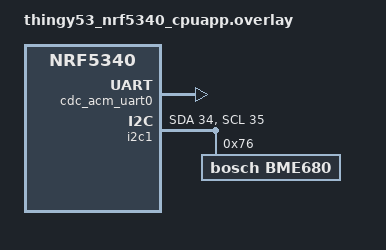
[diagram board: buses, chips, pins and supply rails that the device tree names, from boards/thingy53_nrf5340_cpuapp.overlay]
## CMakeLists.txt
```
#
# Copyright (c) 2020 Nordic Semiconductor ASA
#
# SPDX-License-Identifier: LicenseRef-Nordic-5-Clause
#
cmake_minimum_required(VERSION 3.20.0)

set(PM_STATIC_YML_FILE
  ${CMAKE_CURRENT_SOURCE_DIR}/boards/pm_static_${BOARD}.yml
  )

find_package(Zephyr REQUIRED HINTS $ENV{ZEPHYR_BASE})
project(NONE)

# NORDIC SDK APP START
target_sources(app PRIVATE
	src/main.c
	src/model_handler.c)
target_include_directories(app PRIVATE include)

# Preinitialization related to Thingy:53 DFU
target_sources_ifdef(CONFIG_BOARD_THINGY53_NRF5340_CPUAPP app PRIVATE
boards/thingy53.c
)
target_sources_ifdef(CONFIG_BOARD_THINGY53_NRF5340_CPUAPP_NS app PRIVATE
boards/thingy53.c
)

# NORDIC SDK APP END
```

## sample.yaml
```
sample:
  name: Bluetooth mesh sensor
  description: Bluetooth mesh sensor sample
tests:
  samples.bluetooth.mesh.sensor_server:
    build_only: true
    platform_allow: nrf52dk_nrf52832 nrf52840dk_nrf52840 thingy53_nrf5340_cpuapp thingy53_nrf5340_cpuapp_ns
      nrf21540dk_nrf52840
    tags: bluetooth ci_build
    integration_platforms:
      - nrf52dk_nrf52832
      - nrf52840dk_nrf52840
      - thingy53_nrf5340_cpuapp
      - thingy53_nrf5340_cpuapp_ns
      - nrf21540dk_nrf52840
```

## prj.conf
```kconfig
#
# Copyright (c) 2020 Nordic Semiconductor ASA
#
# SPDX-License-Identifier: LicenseRef-Nordic-5-Clause
#
CONFIG_NCS_SAMPLES_DEFAULTS=y

# General configuration
CONFIG_SYSTEM_WORKQUEUE_STACK_SIZE=2048
CONFIG_FLASH=y
CONFIG_FLASH_MAP=y
CONFIG_NVS=y
CONFIG_SETTINGS=y
CONFIG_HWINFO=y
CONFIG_DK_LIBRARY=y

# Temperature sensor
CONFIG_SENSOR=y
CONFIG_TEMP_NRF5=y

# Bluetooth configuration
CONFIG_BT=y
CONFIG_BT_COMPANY_ID=0x0059
CONFIG_BT_DEVICE_NAME="Mesh Sensor"
CONFIG_BT_L2CAP_TX_MTU=69
CONFIG_BT_L2CAP_TX_BUF_COUNT=8
CONFIG_BT_OBSERVER=y
CONFIG_BT_PERIPHERAL=y
CONFIG_BT_SETTINGS=y

# Disable unused Bluetooth features
CONFIG_BT_CTLR_DUP_FILTER_LEN=0
CONFIG_BT_CTLR_LE_ENC=n
CONFIG_BT_DATA_LEN_UPDATE=n
CONFIG_BT_PHY_UPDATE=n
CONFIG_BT_CTLR_CHAN_SEL_2=n
CONFIG_BT_CTLR_MIN_USED_CHAN=n
CONFIG_BT_CTLR_PRIVACY=n

# Bluetooth mesh configuration
CONFIG_BT_MESH=y
CONFIG_BT_MESH_RELAY=y
CONFIG_BT_MESH_FRIEND=y
CONFIG_BT_MESH_ADV_BUF_COUNT=13
CONFIG_BT_MESH_TX_SEG_MAX=10
CONFIG_BT_MESH_PB_GATT=y
CONFIG_BT_MESH_GATT_PROXY=y
CONFIG_BT_MESH_PROXY_USE_DEVICE_NAME=y
CONFIG_BT_MESH_DK_PROV=y

# Bluetooth mesh models
CONFIG_BT_MESH_SENSOR_SRV=y
```

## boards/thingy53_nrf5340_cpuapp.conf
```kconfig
#
# Copyright (c) 2021 Nordic Semiconductor ASA
#
# SPDX-License-Identifier: LicenseRef-Nordic-5-Clause
#
################################################################################
# Application overlay - Thingy:53 DFU

CONFIG_MCUMGR=y
CONFIG_MCUMGR_SMP_BT=y
CONFIG_MCUMGR_SMP_BT_AUTHEN=n
CONFIG_MCUMGR_SMP_BT_CONN_PARAM_CONTROL=y

CONFIG_MCUMGR_CMD_IMG_MGMT=y
CONFIG_MCUMGR_CMD_OS_MGMT=y

# Enable custom SMP request to erase settings partition.
CONFIG_MCUMGR_GRP_ZEPHYR_BASIC=y
CONFIG_MCUMGR_GRP_BASIC_CMD_STORAGE_ERASE=y

# Increase system workqueue stack size to prevent stack overflows while handling
# SMP requests.
CONFIG_SYSTEM_WORKQUEUE_STACK_SIZE=2800

CONFIG_BT_L2CAP_TX_MTU=498
CONFIG_BT_BUF_ACL_TX_SIZE=251
CONFIG_BT_BUF_ACL_RX_SIZE=502

# Use connection parameters that ensure quick data transfer
CONFIG_BT_PERIPHERAL_PREF_MIN_INT=6
CONFIG_BT_PERIPHERAL_PREF_MAX_INT=6
CONFIG_BT_PERIPHERAL_PREF_LATENCY=99
CONFIG_BT_PERIPHERAL_PREF_TIMEOUT=400

# LEDs are not inverted on Thingy:53
CONFIG_DK_LIBRARY_INVERT_LEDS=n

# Use deferred logging
CONFIG_NCS_SAMPLES_DEFAULTS=n
CONFIG_LOG=y
CONFIG_LOG_PRINTK=y
CONFIG_LOG_PROCESS_THREAD_STACK_SIZE=1024
CONFIG_LOG_PROCESS_THREAD_STARTUP_DELAY_MS=4000
CONFIG_ASSERT=y
CONFIG_ASSERT_NO_COND_INFO=y
CONFIG_ASSERT_NO_MSG_INFO=y
CONFIG_HW_STACK_PROTECTION=y

################################################################################
# Bootloader configuration

CONFIG_BOOTLOADER_MCUBOOT=y
CONFIG_MCUBOOT_IMAGE_VERSION="1.0.0+0"
CONFIG_UPDATEABLE_IMAGE_NUMBER=2

CONFIG_IMG_MANAGER=y
CONFIG_MCUBOOT_IMG_MANAGER=y
CONFIG_IMG_ERASE_PROGRESSIVELY=y

################################################################################
# External flash configuration

CONFIG_NORDIC_QSPI_NOR=y
CONFIG_NORDIC_QSPI_NOR_FLASH_LAYOUT_PAGE_SIZE=4096
CONFIG_NORDIC_QSPI_NOR_STACK_WRITE_BUFFER_SIZE=16

# FLASH nop device is enabled to prevent bus faults when mcumgr tries to access
# simulated partition with network core image data.
CONFIG_FLASH_NOP_DEVICE=y

################################################################################
# Enable USB CDC ACM

CONFIG_USB_DEVICE_STACK=y
CONFIG_USB_DEVICE_PRODUCT="Thingy:53 Application"
CONFIG_USB_DEVICE_VID=0x1915
CONFIG_USB_DEVICE_PID=0x530C
CONFIG_USB_CDC_ACM=y
CONFIG_USB_CDC_ACM_LOG_LEVEL_ERR=y
CONFIG_USB_DEVICE_LOG_LEVEL_ERR=y

# Use CDC_ACM0 for logs
CONFIG_LOG_BACKEND_UART=y
CONFIG_USE_SEGGER_RTT=n
CONFIG_LOG_BACKEND_RTT=n

################################################################################
# Sensor configuration

# Enable Temprature Sensor
CONFIG_BME680=y

# Disable nRF5 sensor
CONFIG_TEMP_NRF5=n
```

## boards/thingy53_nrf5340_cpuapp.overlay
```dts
/*
 * Copyright (c) 2021 Nordic Semiconductor ASA
 *
 * SPDX-License-Identifier: LicenseRef-Nordic-5-Clause
 */

/ {
	chosen {
		nordic,pm-ext-flash = &mx25r64;
	};
};

/*
 * This section is used to enable a partition which is used through the flash API
 * but which is in reality stored in RAM. This is done to load data from
 * external flash to the network core. Since the network core cannot access
 * the external flash directly, the data is buffered in RAM before being
 * copied by the network core to the network core flash.
 *
 * The partition must be enabled by the application configuration to prevent
 * bus faults when mcumgr tries to access simulated partition with network core
 * image data.
 */

/ {
	soc {
		/* Add a flash controller which has the compatible
		 * 'zephyr,sim-flash'. This will ensure that the flash
		 * simulator can use it. None of the other properties in this
		 * node is used for anything.
		 */
		nordic_ram_flash_controller: nordic_ram-flash-controller@0 {
			compatible = "zephyr,sim-flash";
			reg = <0x00000000 DT_SIZE_K(40)>;
			#address-cells = <1>;
			#size-cells = <1>;
			erase-value = <0xff>;
			label = "nordic_ram_flash_flash_controller";

			/* This node label must match that used in the flash
			 * simulator.
			 */
			flash_sim0: flash_sim@0 {
				status = "okay";
				compatible = "soc-nv-flash";
				label = "simulated_flash";
				erase-block-size = <4096>;
				write-block-size = <4>;
				reg = <0x00000000 DT_SIZE_K(256)>;

				partitions {
					compatible = "fixed-partitions";
					#address-cells = <1>;
					#size-cells = <1>;

					/* This partition must be defined for
					 * MCUboot to find the partition ID
					 * of the primary slot for image 1,
					 * which is stored in this partition.
					 */
					slot2_partition: partition@0 {
						label = "image-2";
						reg = <0x00000000 0x00000A000>;
					};
				};
			};
		};
	};

	chosen {
		zephyr,console = &cdc_acm_uart0;
	};

	aliases {
		bme680 = &bme680;
	};
};

&zephyr_udc0 {
	cdc_acm_uart0: cdc_acm_uart0 {
		compatible = "zephyr,cdc-acm-uart";
		label = "CDC_ACM_0";
	};
};

i2c1: &i2c1 {
	compatible = "nordic,nrf-twim";
	status = "okay";
	sda-pin = <34>;
	scl-pin = <35>;

	bme680: bme680@76 {
		compatible = "bosch,bme680";
		label = "BME680";
		reg = <0x76>;
	};
};
```

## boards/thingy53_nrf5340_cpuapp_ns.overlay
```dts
/*
 * Copyright (c) 2021 Nordic Semiconductor ASA
 *
 * SPDX-License-Identifier: LicenseRef-Nordic-5-Clause
 */

/ {
	chosen {
		nordic,pm-ext-flash = &mx25r64;
	};
};

/*
 * This file is used to enable a partition which is used through the flash API
 * but which is in reality stored in RAM. This is done to load data from
 * external flash to the network core. Since the network core cannot access
 * the external flash directly, the data is buffered in RAM before being
 * copied by the network core to the network core flash.
 *
 * The partition must be enabled by the application configuration to prevent
 * bus faults when mcumgr tries to access simulated partition with network core
 * image data.
 */

/ {
	soc {
		/* Add a flash controller which has the compatible
		 * 'zephyr,sim-flash'. This will ensure that the flash
		 * simulator can use it. None of the other properties in this
		 * node is used for anything.
		 */
		nordic_ram_flash_controller: nordic_ram-flash-controller@0 {
			compatible = "zephyr,sim-flash";
			reg = <0x00000000 DT_SIZE_K(40)>;
			#address-cells = <1>;
			#size-cells = <1>;
			erase-value = <0xff>;
			label = "nordic_ram_flash_flash_controller";

			/* This node label must match that used in the flash
			 * simulator.
			 */
			flash_sim0: flash_sim@0 {
				status = "okay";
				compatible = "soc-nv-flash";
				label = "simulated_flash";
				erase-block-size = <4096>;
				write-block-size = <4>;
				reg = <0x00000000 DT_SIZE_K(256)>;

				partitions {
					compatible = "fixed-partitions";
					#address-cells = <1>;
					#size-cells = <1>;

					/* This partition must be defined for
					 * MCUboot to find the partition ID
					 * of the primary slot for image 1,
					 * which is stored in this partition.
					 */
					slot2_partition: partition@0 {
						label = "image-2";
						reg = <0x00000000 0x00000A000>;
					};
				};
			};
		};
	};

	chosen {
		zephyr,console = &cdc_acm_uart0;
	};

	aliases {
		bme680 = &bme680;
	};
};

&zephyr_udc0 {
	cdc_acm_uart0: cdc_acm_uart0 {
		compatible = "zephyr,cdc-acm-uart";
		label = "CDC_ACM_0";
	};
};

i2c1: &i2c1 {
	compatible = "nordic,nrf-twim";
	status = "okay";
	sda-pin = <34>;
	scl-pin = <35>;

	bme680: bme680@76 {
		compatible = "bosch,bme680";
		label = "BME680";
		reg = <0x76>;
	};
};
```

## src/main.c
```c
/*
 * Copyright (c) 2020 Nordic Semiconductor ASA
 *
 * SPDX-License-Identifier: LicenseRef-Nordic-5-Clause
 */

/** @file
 *  @brief Nordic mesh sensor sample
 */
#include <bluetooth/bluetooth.h>
#include <bluetooth/mesh/models.h>
#include <bluetooth/mesh/dk_prov.h>
#include <dk_buttons_and_leds.h>
#include "model_handler.h"

static void bt_ready(int err)
{
	if (err) {
		printk("Bluetooth init failed (err %d)\n", err);
		return;
	}

	printk("Bluetooth initialized\n");

	dk_leds_init();
	dk_buttons_init(NULL);

	err = bt_mesh_init(bt_mesh_dk_prov_init(), model_handler_init());
	if (err) {
		printk("Initializing mesh failed (err %d)\n", err);
		return;
	}

	if (IS_ENABLED(CONFIG_SETTINGS)) {
		settings_load();
	}

	/* This will be a no-op if settings_load() loaded provisioning info */
	bt_mesh_prov_enable(BT_MESH_PROV_ADV | BT_MESH_PROV_GATT);

	printk("Mesh initialized\n");
}

void main(void)
{
	int err;

	printk("Initializing...\n");

	err = bt_enable(bt_ready);
	if (err) {
		printk("Bluetooth init failed (err %d)\n", err);
	}
}
```

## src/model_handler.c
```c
/*
 * Copyright (c) 2020 Nordic Semiconductor ASA
 *
 * SPDX-License-Identifier: LicenseRef-Nordic-5-Clause
 */

#include <bluetooth/bluetooth.h>
#include <bluetooth/mesh/models.h>
#include <dk_buttons_and_leds.h>
#include "model_handler.h"

#if DT_NODE_EXISTS(DT_ALIAS(bme680))
/** Thingy53 */
#define SENSOR_INST DT_PROP(DT_ALIAS(bme680), label)
#define SENSOR_DATA_TYPE SENSOR_CHAN_AMBIENT_TEMP
#elif DT_NODE_EXISTS(DT_NODELABEL(temp))
/** nRF52 DK */
#define SENSOR_INST DT_PROP(DT_NODELABEL(temp), label)
#define SENSOR_DATA_TYPE SENSOR_CHAN_DIE_TEMP
#else
#define SENSOR_INST NULL
#define SENSOR_DATA_TYPE NULL
#error "Unsupported board!"
#endif

/* The columns (temperature ranges) for relative
 * runtime in a chip temperature
 */
static const struct bt_mesh_sensor_column columns[] = {
	{ { 0 }, { 20 } },
	{ { 20 }, { 25 } },
	{ { 25 }, { 30 } },
	{ { 30 }, { 100 } },
};

static const struct device *dev;
static uint32_t tot_temp_samps;
static uint32_t col_samps[ARRAY_SIZE(columns)];

static int32_t prev_pres;

static int chip_temp_get(struct bt_mesh_sensor *sensor,
			 struct bt_mesh_msg_ctx *ctx, struct sensor_value *rsp)
{
	int err;

	sensor_sample_fetch(dev);

	err = sensor_channel_get(dev, SENSOR_DATA_TYPE, rsp);

	if (err) {
		printk("Error getting temperature sensor data (%d)\n", err);
	}

	for (int i = 0; i < ARRAY_SIZE(columns); ++i) {
		if (bt_mesh_sensor_value_in_column(rsp, &columns[i])) {
			col_samps[i]++;
			break;
		}
	}

	tot_temp_samps++;

	return err;
}

static struct bt_mesh_sensor chip_temp = {
	.type = &bt_mesh_sensor_present_dev_op_temp,
	.get = chip_temp_get,
};

static int relative_runtime_in_chip_temp_get(
	struct bt_mesh_sensor *sensor, struct bt_mesh_msg_ctx *ctx,
	const struct bt_mesh_sensor_column *column, struct sensor_value *value)
{
	if (tot_temp_samps) {
		int32_t index = column - &columns[0];
		uint8_t percent_steps =
			(200 * col_samps[index]) / tot_temp_samps;

		value[0].val1 = percent_steps / 2;
		value[0].val2 = (percent_steps % 2) * 500000;
	} else {
		value[0].val1 = 0;
		value[0].val2 = 0;
	}

	value[1] = column->start;
	value[2] = column->end;

	return 0;
}

static struct bt_mesh_sensor rel_chip_temp_runtime = {
	.type = &bt_mesh_sensor_rel_runtime_in_a_dev_op_temp_range,
	.series = {
		columns,
		ARRAY_SIZE(columns),
		relative_runtime_in_chip_temp_get,
		},
};

static struct bt_mesh_sensor presence_sensor = {
	.type = &bt_mesh_sensor_presence_detected,
};

static int time_since_presence_detected_get(struct bt_mesh_sensor *sensor,
					    struct bt_mesh_msg_ctx *ctx,
					    struct sensor_value *rsp)
{
	if (prev_pres) {
		rsp->val1 = (k_uptime_get_32() - prev_pres) / MSEC_PER_SEC;
	} else {
		rsp->val1 = 0;
	}

	return 0;
}

static struct bt_mesh_sensor time_since_presence_detected = {
	.type = &bt_mesh_sensor_time_since_presence_detected,
	.get = time_since_presence_detected_get,
};

static struct bt_mesh_sensor *const sensors[] = {
	&chip_temp,
	&rel_chip_temp_runtime,
	&presence_sensor,
	&time_since_presence_detected,
};

static struct bt_mesh_sensor_srv sensor_srv =
	BT_MESH_SENSOR_SRV_INIT(sensors, ARRAY_SIZE(sensors));

static struct k_work_delayable end_of_presence_work;

static void end_of_presence(struct k_work *work)
{
	int err;

	/* This sensor value must be boolean -
	 * .val1 can only be '0' or '1'
	 */
	struct sensor_value val = {
		.val1 = 0,
	};

	err = bt_mesh_sensor_srv_pub(&sensor_srv, NULL, &presence_sensor, &val);

	if (err) {
		printk("Error publishing end of presence (%d)\n", err);
	}
}

static void button_handler_cb(uint32_t pressed, uint32_t changed)
{
	if ((pressed & BIT(0))) {
		int err;

		/* This sensor value must be boolean -
		 * .val1 can only be '0' or '1'
		 */
		struct sensor_value val = {
			.val1 = 1,
		};

		err = bt_mesh_sensor_srv_pub(&sensor_srv, NULL,
					     &presence_sensor, &val);

		if (err) {
			printk("Error publishing presence (%d)\n", err);
		}

		prev_pres = k_uptime_get_32();

		k_work_reschedule(&end_of_presence_work, K_MSEC(2000));
	}
}

static struct button_handler button_handler = {
	.cb = button_handler_cb,
};

/* Set up a repeating delayed work to blink the DK's LEDs when attention is
 * requested.
 */
static struct k_work_delayable attention_blink_work;
static bool attention;

static void attention_blink(struct k_work *work)
{
	static int idx;
	const uint8_t pattern[] = {
#if DT_NODE_EXISTS(DT_ALIAS(led0))
		BIT(0),
#endif
#if DT_NODE_EXISTS(DT_ALIAS(led1))
		BIT(1),
#endif
#if DT_NODE_EXISTS(DT_ALIAS(led2))
		BIT(2),
#endif
#if DT_NODE_EXISTS(DT_ALIAS(led3))
		BIT(3),
#endif
	};

	if (attention) {
		dk_set_leds(pattern[idx++ % ARRAY_SIZE(pattern)]);
		k_work_reschedule(&attention_blink_work, K_MSEC(30));
	} else {
		dk_set_leds(DK_NO_LEDS_MSK);
	}
}

static void attention_on(struct bt_mesh_model *mod)
{
	attention = true;
	k_work_reschedule(&attention_blink_work, K_NO_WAIT);
}

static void attention_off(struct bt_mesh_model *mod)
{
	/* Will stop rescheduling blink timer */
	attention = false;
}

static const struct bt_mesh_health_srv_cb health_srv_cb = {
	.attn_on = attention_on,
	.attn_off = attention_off,
};

static struct bt_mesh_health_srv health_srv = {
	.cb = &health_srv_cb,
};

BT_MESH_HEALTH_PUB_DEFINE(health_pub, 0);

static struct bt_mesh_elem elements[] = {
	BT_MESH_ELEM(1,
		     BT_MESH_MODEL_LIST(BT_MESH_MODEL_CFG_SRV,
					BT_MESH_MODEL_HEALTH_SRV(&health_srv,
								 &health_pub),
					BT_MESH_MODEL_SENSOR_SRV(&sensor_srv)),
		     BT_MESH_MODEL_NONE),
};

static const struct bt_mesh_comp comp = {
	.cid = CONFIG_BT_COMPANY_ID,
	.elem = elements,
	.elem_count = ARRAY_SIZE(elements),
};

const struct bt_mesh_comp *model_handler_init(void)
{
	k_work_init_delayable(&attention_blink_work, attention_blink);
	k_work_init_delayable(&end_of_presence_work, end_of_presence);

	dev = device_get_binding(SENSOR_INST);

	if (dev == NULL) {
		printk("Could not initiate temperature sensor\n");
	} else {
		printk("Temperature sensor (%s) initiated\n", dev->name);
	}

	dk_button_handler_add(&button_handler);

	return &comp;
}
```
